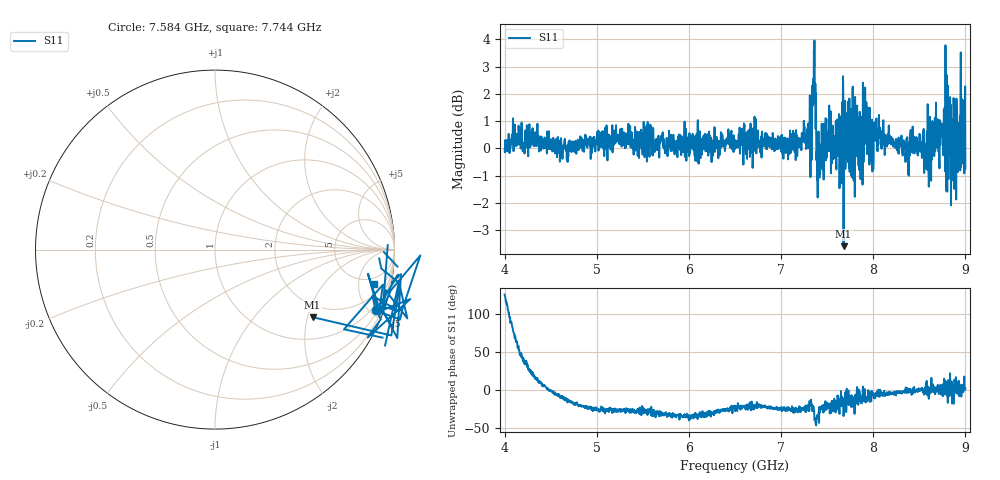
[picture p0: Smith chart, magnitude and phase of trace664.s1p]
! Created with skrf 1.8.0 (http://scikit-rf.org).
# Hz S RI R 50.0
!freq ReS11 ImS11
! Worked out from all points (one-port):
!   1601 points, 4 GHz to 9 GHz, reference 50 ohm
!   lowest |S11| = -3.6 dB at 7.678 GHz (marker M1), VSWR 4.90, Z = 80.4 - j108 ohm
!   |S11| at or under -10 dB: nowhere
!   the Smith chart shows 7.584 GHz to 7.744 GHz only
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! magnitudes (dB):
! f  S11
! 4 GHz  0.0
! 4.166 GHz  0.1
! 4.625 GHz  -0.3
! 5.25 GHz  0.3
! 5.875 GHz  -0.3
! 6.5 GHz  0.2
! 7.125 GHz  0.3
! 7.309 GHz  0.8
! 7.356 GHz  3.6
! 7.409 GHz  -0.7
! 7.497 GHz  0.4
! 7.566 GHz  -0.2
! 7.678 GHz  -3.6
! 7.75 GHz  0.7
! 7.853 GHz  1.3
! 7.928 GHz  0.8
! 7.981 GHz  -0.4
! 8.056 GHz  0.1
! 8.375 GHz  -0.1
! 8.522 GHz  0.0
! 8.581 GHz  0.6
! 8.634 GHz  -0.4
! 8.709 GHz  -0.1
! 8.772 GHz  -0.2
! 8.869 GHz  -0.8
! 8.956 GHz  0.0
! 8.972 GHz  1.0
! 9 GHz  -0.7
